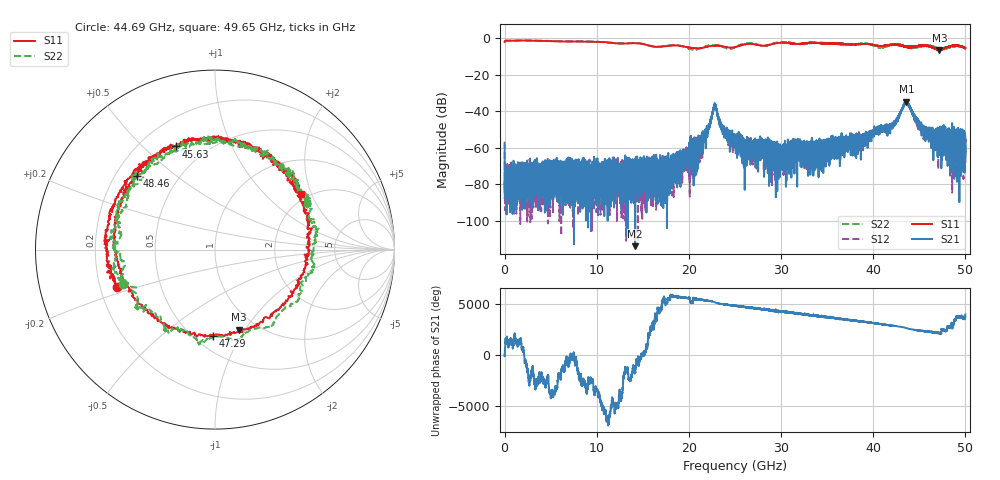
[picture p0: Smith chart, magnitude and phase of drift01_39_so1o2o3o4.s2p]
!Created with skrf (http://scikit-rf.org).
# Hz S RI R 50.0
!freq ReS11 ImS11 ReS21 ImS21 ReS12 ImS12 ReS22 ImS22
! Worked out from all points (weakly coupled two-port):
!   10001 points, 300 kHz to 50 GHz, reference 50 ohm
!   highest |S21| = -34.86 dB at 43.6 GHz (marker M1); lowest = -113.8 dB at 14.17 GHz (marker M2)
!   lowest |S11| = -6.6 dB at 47.18 GHz (marker M3), VSWR 2.74, Z = 41 - j46.8 ohm
!   |S11| at or under -10 dB: nowhere
!   |S22| runs from -6.5 to -1.4 dB; largest |S21 - S12| = 0.0047
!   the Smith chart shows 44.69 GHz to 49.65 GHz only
!   S11 on the Smith chart (normalised r, x): 44.69 GHz: 0.27, -0.17; 45.63 GHz: 0.34, +0.63; 47.29 GHz: 0.61, -0.77; 48.46 GHz: 0.29, +0.37; 49.65 GHz: 1.83, +1.68
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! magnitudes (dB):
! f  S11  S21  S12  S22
! 300 kHz  -2.1  -58.8  -56.7  -2.2
! 260.3 MHz  -1.4  -75.4  -82.9  -1.4
! 8.335 GHz  -2.0  -80.4  -70.9  -1.8
! 14.17 GHz  -2.9  -113.8  -72.9  -2.7
! 16.67 GHz  -4.8  -74.4  -77.7  -4.8
! 20.76 GHz  -5.6  -61.7  -60.7  -6.2
! 21.88 GHz  -5.0  -51.7  -50.9  -4.6
! 22.8 GHz  -4.3  -36.2  -36.4  -4.0
! 23.74 GHz  -4.6  -49.2  -50.2  -5.0
! 25 GHz  -5.0  -55.1  -55.9  -5.1
! 29.9 GHz  -2.6  -63.3  -60.8  -2.4
! 31.79 GHz  -3.2  -55.1  -61.2  -3.2
! 33.34 GHz  -2.6  -66.7  -68.2  -2.7
! 41.67 GHz  -3.9  -47.6  -49.1  -4.3
! 43.6 GHz  -5.0  -34.9  -35.1  -5.0
! 44.69 GHz  -4.7  -44.1  -44.9  -5.3
! 45.63 GHz  -4.2  -53.5  -50.8  -4.3
! 47.18 GHz  -6.6  -57.2  -61.2  -6.2
! 47.29 GHz  -6.3  -59.0  -55.1  -5.9
! 48.46 GHz  -4.5  -59.6  -55.9  -4.8
! 49.65 GHz  -4.9  -52.4  -65.5  -4.8
! 50 GHz  -5.5  -63.3  -57.9  -5.3
